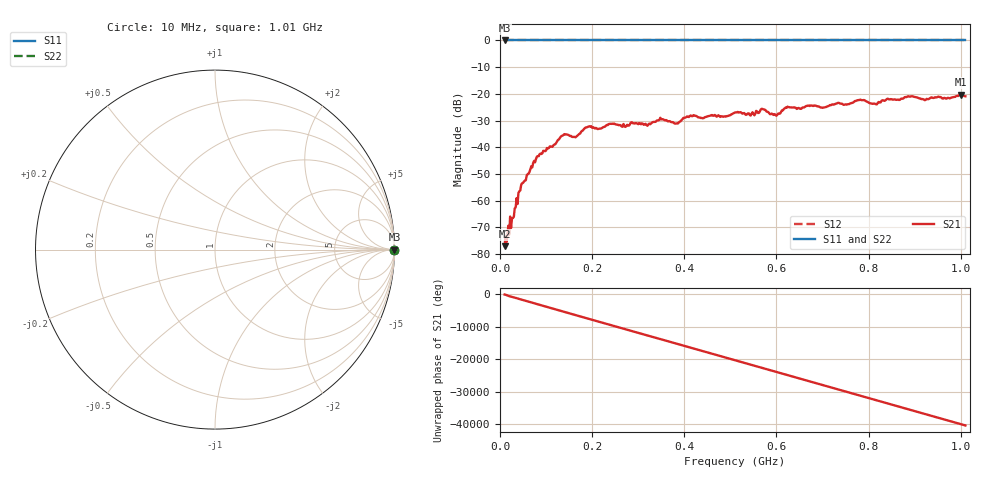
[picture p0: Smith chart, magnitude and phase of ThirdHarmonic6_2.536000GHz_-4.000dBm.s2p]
! 8/17/2025 5:05:17 AM
! C:\ANRITSUVNA\TEMP\TEMP.S2P
! CHANNEL.1
! TR.MEASUREMENT
! RAW.DATA
! RF.CORRECTION.OFF
! AVERAGING.OFF
! IF.BANDWIDTH: 5KHZ
! SWEEPTYPE:  FREQ.SWEEP(Linear)
! Reference Plane Port Info
! PORT:  PORT1  PORT2
! DISTANCE:  0  m  0  m
! TIME:  0  s  0  s
! PHASE.OFFSET:  0  deg.  0  deg.
! LOSS:  0  dB  0  dB
! REF.LOSS:  0  dB  0  dB
! REF.FREQ:  0  Hz  0  Hz
! Power Info
! POWER:  -20  dBm  -20  dBm
! EFF.POWER:  -20  dBm  -20  dBm
! SOURCE.ATTEN:  0  dB  0  dB
! TEST.ATTEN:  0  dB  0  dB
# GHZ S RI R 50.0
! FREQ.GHZ  S11RE  S11IM  S21RE  S21IM  S12RE  S12IM  S22RE  S22IM
!; PortSelection: Port_12
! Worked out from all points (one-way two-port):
!   501 points, 10 MHz to 1.01 GHz, reference 50 ohm
!   highest |S21| = -20.27 dB at 1 GHz (marker M1); lowest = -77.1 dB at 10 MHz (marker M2)
!   lowest |S11| = 0.0 dB at 10 MHz (marker M3)
!   |S11| at or under -10 dB: nowhere
!   |S22| runs from 0.0 to 0.0 dB; largest |S21 - S12| = 1.1
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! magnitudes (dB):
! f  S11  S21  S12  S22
! 10 MHz  0.0  -77.1  0.0  0.0
! 28 MHz  0.0  -66.6  0.0  0.0
! 44 MHz  0.0  -56.2  0.0  0.0
! 78 MHz  0.0  -44.5  0.0  0.0
! 136 MHz  0.0  -35.7  0.0  0.0
! 162 MHz  0.0  -36.2  0.0  0.0
! 178 MHz  0.0  -33.9  0.0  0.0
! 194 MHz  0.0  -32.2  0.0  0.0
! 344 MHz  0.0  -29.9  0.0  0.0
! 382 MHz  0.0  -31.1  0.0  0.0
! 416 MHz  0.0  -28.4  0.0  0.0
! 510 MHz  0.0  -27.0  0.0  0.0
! 548 MHz  0.0  -26.9  0.0  0.0
! 570 MHz  0.0  -25.7  0.0  0.0
! 598 MHz  0.0  -28.0  0.0  0.0
! 624 MHz  0.0  -24.8  0.0  0.0
! 678 MHz  0.0  -24.5  0.0  0.0
! 780 MHz  0.0  -22.3  0.0  0.0
! 814 MHz  0.0  -23.7  0.0  0.0
! 844 MHz  0.0  -22.1  0.0  0.0
! 1 GHz  0.0  -20.3  0.0  0.0
! 1.01 GHz  0.0  -20.9  0.0  0.0
